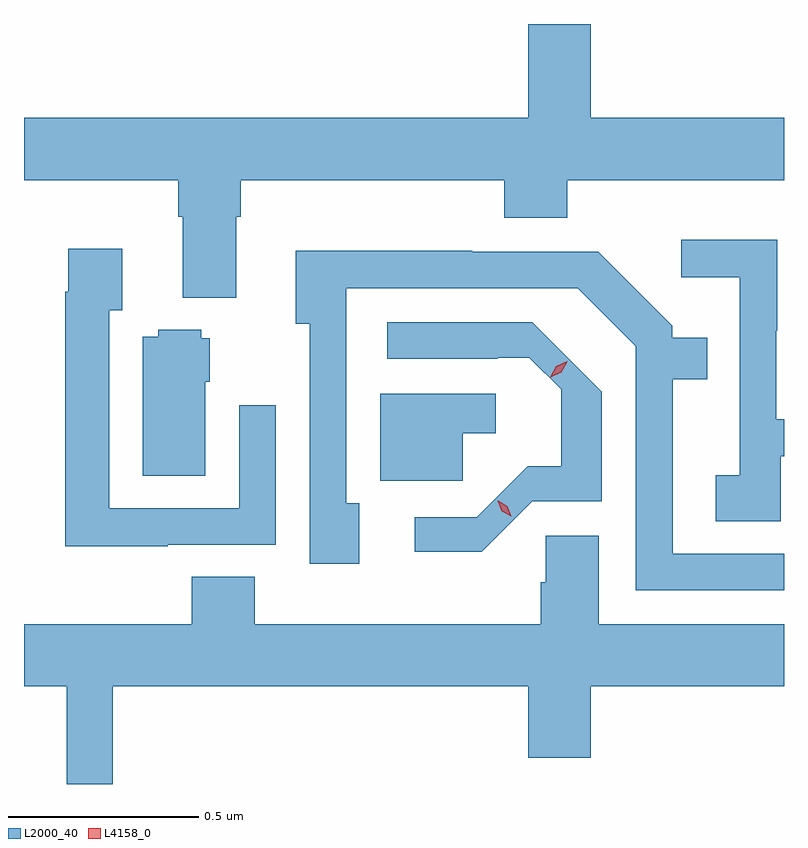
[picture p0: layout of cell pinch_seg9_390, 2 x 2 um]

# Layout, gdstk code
import gdstk
lib = gdstk.Library(unit=1e-6, precision=1e-09)
def P(c, l, *ps):  # polygons
    for p in ps: c.add(gdstk.Polygon(p, *l))
L2000_40 = (2000, 40)
L4158_0 = (4158, 0)

pinch_seg9_390 = lib.new_cell('pinch_seg9_390')
P(pinch_seg9_390, L2000_40, [(379.465,1231.052),(379.871,1231.052),(379.871,1230.956),(379.883,1230.956),(379.883,1230.743),(380.023,1230.743),(380.023,1230.956),(380.036,1230.956),(380.036,1231.052),(380.729,1231.052),(380.729,1230.953),(380.894,1230.953),(380.894,1231.052),(381.465,1231.052),(381.465,1231.216),(380.956,1231.216),(380.956,1231.463),(380.792,1231.463),(380.792,1231.216),(379.465,1231.216)],
  [(381.457,1230.325),(381.465,1230.325),(381.465,1230.423),(381.444,1230.423),(381.444,1230.656),(381.447,1230.656),(381.447,1230.895),(381.195,1230.895),(381.195,1230.797),(381.348,1230.797),(381.348,1230.276),(381.285,1230.276),(381.285,1230.154),(381.457,1230.154)],
  [(379.843,1230.093),(380.127,1230.093),(380.127,1230.46),(380.031,1230.46),(380.031,1230.189),(379.689,1230.189),(379.689,1230.71),(379.723,1230.71),(379.723,1230.871),(379.581,1230.871),(379.581,1230.758),(379.573,1230.758),(379.573,1230.089),(379.843,1230.089)],
  [(381.465,1230.069),(381.172,1230.069),(381.172,1230.528),(381.263,1230.528),(381.263,1230.637),(381.171,1230.637),(381.171,1230.669),(380.976,1230.864),(380.645,1230.864),(380.645,1230.866),(380.18,1230.866),(380.18,1230.674),(380.217,1230.674),(380.217,1230.042),(380.347,1230.042),(380.347,1230.202),(380.313,1230.202),(380.313,1230.768),(380.922,1230.768),(381.075,1230.615),(381.075,1229.973),(381.465,1229.973)],
  [(380.802,1230.207),(380.985,1230.207),(380.985,1230.495),(380.802,1230.678),(380.421,1230.678),(380.421,1230.582),(380.712,1230.582),(380.712,1230.585),(380.795,1230.585),(380.879,1230.502),(380.879,1230.299),(380.79,1230.299),(380.656,1230.165),(380.493,1230.165),(380.493,1230.074),(380.669,1230.074)],
  [(379.942,1230.522),(379.954,1230.522),(379.954,1230.636),(379.932,1230.636),(379.932,1230.658),(379.818,1230.658),(379.818,1230.64),(379.778,1230.64),(379.778,1230.274),(379.942,1230.274)],
  [(380.62,1230.386),(380.707,1230.386),(380.707,1230.49),(380.403,1230.49),(380.403,1230.261),(380.62,1230.261)],
  [(379.699,1229.72),(380.792,1229.72),(380.792,1229.532),(380.956,1229.532),(380.956,1229.72),(381.465,1229.72),(381.465,1229.884),(380.977,1229.884),(380.977,1230.116),(380.838,1230.116),(380.838,1229.994),(380.825,1229.994),(380.825,1229.884),(380.072,1229.884),(380.072,1230.008),(379.907,1230.008),(379.907,1229.884),(379.465,1229.884),(379.465,1229.72),(379.577,1229.72),(379.577,1229.463),(379.699,1229.463)])
P(pinch_seg9_390, L4158_0, [(380.85,1230.534),(380.85,1230.534),(380.865,1230.562),(380.894,1230.575),(380.894,1230.575),(380.894,1230.574),(380.879,1230.547),(380.851,1230.534)],
  [(380.747,1230.167),(380.722,1230.181),(380.712,1230.208),(380.712,1230.208),(380.713,1230.208),(380.737,1230.194),(380.747,1230.167),(380.747,1230.167)])

lib.write_gds('pinch_seg9_390.gds')
